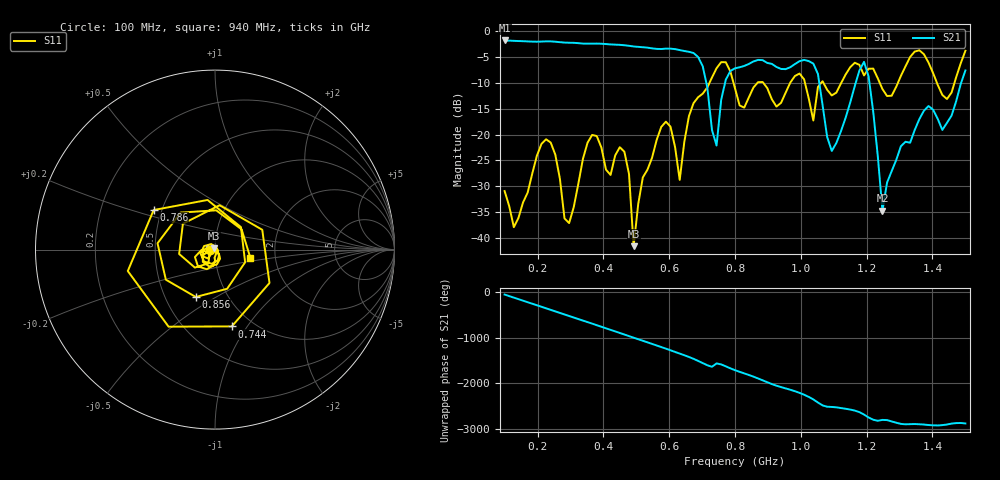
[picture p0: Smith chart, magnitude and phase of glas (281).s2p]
! NanoVNA-App
! Date: 2025-09-25 15:57:39
! Start: 100MHz Stop: 1,5GHz Points: 101
! S-Parameter data: F S11 S21 S12 S22
# Hz S RI R 50
!  Frequency  S11_Real  S11_Imag  S21_Real  S21_Imag  S12_Real  S12_Imag  S22_Real  S22_Imag
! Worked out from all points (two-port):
!   101 points, 100 MHz to 1.5 GHz, reference 50 ohm
!   highest |S21| = -1.80 dB at 100 MHz (marker M1); lowest = -34.7 dB at 1.248 GHz (marker M2)
!   |S21| within 3 dB of the highest: start of sweep to 684.3 MHz
!   lowest |S11| = -41.6 dB at 492 MHz (marker M3), VSWR 1.02, Z = 49.5 + j0.638 ohm
!   |S11| at or under -10 dB: start of sweep to 722.5 MHz; 795.4 MHz to 868.2 MHz (72.83 MHz wide, 8.76 % of centre); 885.9 MHz to 967.6 MHz (81.71 MHz wide, 8.82 % of centre) (the widest 3 of 7)
!   S12 and S22 are empty: the file has one direction only
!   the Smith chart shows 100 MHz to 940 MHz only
!   S11 on the Smith chart (normalised r, x): 100 MHz: 0.95, -0.01; 744 MHz: 0.80, -0.85; 786 MHz: 0.45, +0.24; 856 MHz: 0.71, -0.41; 940 MHz: 1.48, -0.14
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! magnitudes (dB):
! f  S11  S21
! 100 MHz  -30.9  -1.8
! 128 MHz  -37.9  -1.9
! 226 MHz  -20.9  -2.0
! 296 MHz  -37.1  -2.2
! 338 MHz  -24.7  -2.4
! 464 MHz  -23.3  -2.7
! 492 MHz  -41.6  -3.0
! 576 MHz  -18.5  -3.5
! 632 MHz  -28.8  -3.7
! 702 MHz  -12.1  -6.8
! 744 MHz  -7.2  -22.1
! 786 MHz  -7.8  -7.7
! 800 MHz  -11.1  -7.2
! 856 MHz  -10.9  -5.9
! 940 MHz  -13.9  -7.3
! 996 MHz  -8.2  -5.8
! 1.038 GHz  -17.3  -6.3
! 1.094 GHz  -12.4  -23.2
! 1.192 GHz  -8.6  -5.9
! 1.248 GHz  -11.2  -34.7
! 1.276 GHz  -12.5  -27.1
! 1.5 GHz  -3.8  -7.6
